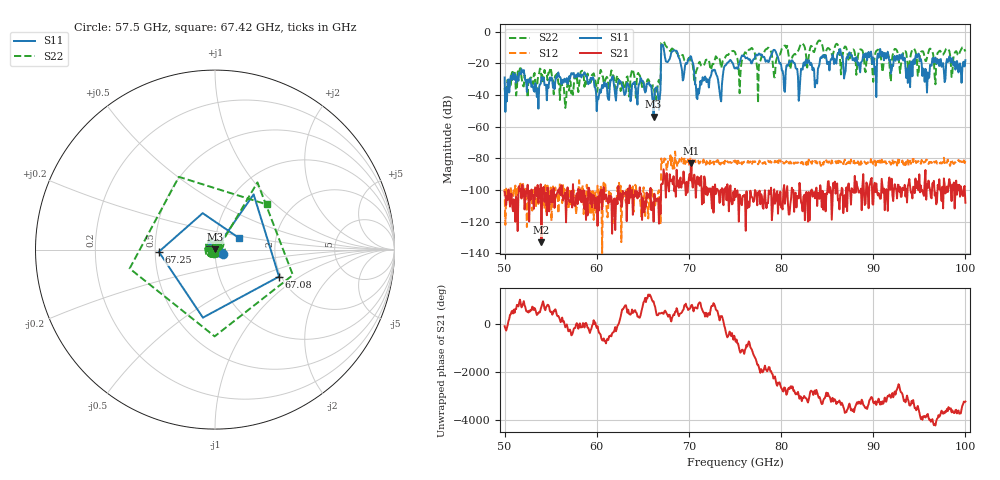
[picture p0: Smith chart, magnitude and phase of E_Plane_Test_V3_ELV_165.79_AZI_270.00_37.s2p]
! 11/26/2026 4:24:12 PM
! C:\ANRITSUVNA\TEMP\TEMP.S2P
! CHANNEL.1
! TR.MEASUREMENT
! RAW.DATA
# HZ S RI R 50.0
! FREQ.HZ  S11RE  S11IM  S21RE  S21IM  S12RE  S12IM  S22RE  S22IM
!; PortSelection: Port_12
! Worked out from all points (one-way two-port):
!   601 points, 50 GHz to 100 GHz, reference 50 ohm
!   highest |S21| = -83.10 dB at 70.25 GHz (marker M1); lowest = -133.0 dB at 54 GHz (marker M2)
!   lowest |S11| = -53.7 dB at 66.17 GHz (marker M3), VSWR 1.00, Z = 50.1 + j0.151 ohm
!   |S11| at or under -10 dB: start of sweep to 67 GHz; 67.25 GHz to end of sweep
!   |S22| runs from -48.2 to -5.6 dB; largest |S21 - S12| = 0.00017
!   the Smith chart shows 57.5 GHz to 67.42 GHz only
!   S11 on the Smith chart (normalised r, x): 57.5 GHz: 1.09, -0.05; 67.08 GHz: 1.95, -0.69; 67.25 GHz: 0.52, -0.01; 67.42 GHz: 1.29, +0.17
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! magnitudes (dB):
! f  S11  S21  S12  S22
! 50 GHz  -28.9  -101.1  -99.5  -35.6
! 54 GHz  -28.7  -133.0  -99.6  -28.6
! 57.5 GHz  -26.1  -107.7  -100.1  -34.6
! 58.42 GHz  -27.2  -100.6  -98.8  -24.8
! 60.17 GHz  -42.8  -104.2  -102.1  -30.4
! 66.17 GHz  -53.7  -120.1  -105.0  -34.0
! 66.67 GHz  -41.5  -105.5  -101.2  -31.6
! 67.08 GHz  -8.2  -96.0  -83.1  -6.8
! 67.25 GHz  -10.1  -87.0  -83.1  -6.2
! 67.42 GHz  -16.6  -93.9  -80.4  -8.3
! 70.25 GHz  -15.9  -83.1  -88.2  -18.8
! 70.92 GHz  -42.6  -91.6  -81.0  -23.2
! 75 GHz  -23.3  -99.3  -81.4  -13.0
! 78.58 GHz  -19.1  -108.4  -81.6  -10.1
! 79.25 GHz  -11.5  -99.6  -83.2  -28.9
! 80.25 GHz  -27.8  -100.2  -83.1  -9.3
! 83.42 GHz  -24.4  -104.2  -81.9  -10.8
! 91.67 GHz  -16.6  -95.3  -83.0  -15.2
! 93.75 GHz  -32.4  -97.7  -81.1  -21.3
! 94.83 GHz  -15.1  -98.9  -82.2  -27.9
! 95.83 GHz  -38.5  -96.4  -81.1  -16.5
! 100 GHz  -18.1  -108.2  -81.9  -12.6
